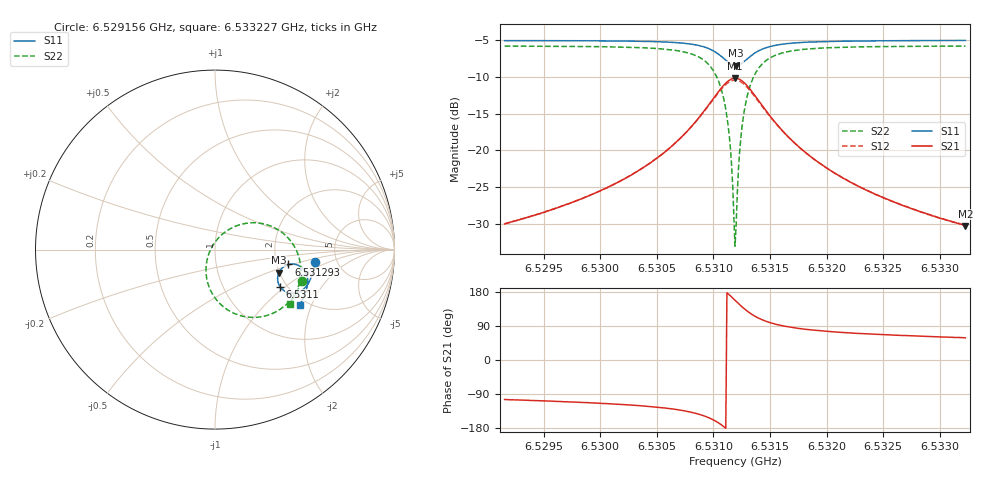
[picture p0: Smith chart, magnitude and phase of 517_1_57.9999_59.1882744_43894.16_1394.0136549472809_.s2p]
#  HZ  S  RI  R  50.00
! Rohde & Schwarz Vector Network Analyzer
! Rohde-Schwarz,ZNB20-2Port,1311601062101988,3.16
! Created: UTC 3/21/2024, 1:13:25 AM
! freq[Hz]  re:S11  im:S11  re:S21  im:S21  re:S12  im:S12  re:S22  im:S22
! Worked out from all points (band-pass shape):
!   401 points, 6.529156 GHz to 6.533227 GHz, reference 50 ohm
!   highest |S21| = -10.15 dB at 6.531191 GHz (marker M1); lowest = -30.3 dB at 6.533227 GHz (marker M2)
!   |S21| within 3 dB of the highest: 6.53099 GHz to 6.531396 GHz (406.7 kHz wide, 0.00623 % of centre)
!   lowest |S11| = -8.4 dB at 6.531202 GHz (marker M3), VSWR 2.22, Z = 99.1 - j29.9 ohm
!   |S11| at or under -10 dB: nowhere
!   |S22| runs from -33.1 to -5.8 dB; largest |S21 - S12| = 0.012
!   S11 on the Smith chart (normalised r, x): 6.529156 GHz: 3.40, -0.70; 6.5311 GHz: 1.84, -0.93; 6.531293 GHz: 2.32, -0.47; 6.533227 GHz: 1.82, -1.64
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6.5291559e9  0.5564 -0.0706  -0.00769 -0.0305  -0.00848 -0.0304  0.4848 -0.1745
6.5298378e9  0.5451 -0.1272  -0.0175 -0.0433  -0.0183 -0.043  0.4534 -0.2379
6.5305197e9  0.5157 -0.195  -0.052 -0.0743  -0.0541 -0.0728  0.3707 -0.3273
6.5307538e9  0.4879 -0.2245  -0.0923 -0.0933  -0.095 -0.0902  0.2892 -0.367
6.5309269e9  0.4436 -0.2429  -0.1613 -0.0991  -0.1635 -0.0926  0.162 -0.3728
6.5310286e9  0.3983 -0.2366  -0.2311 -0.0718  -0.2302 -0.0621  0.0438 -0.316
6.5310999e9  0.3636 -0.2083  -0.2823 -0.0121  -0.2764 -0.00229  -0.0333 -0.2073
6.5311406e9  0.3509 -0.1798  -0.298 0.0415  -0.2889 0.0493  -0.0503 -0.1159
6.5311813e9  0.3504 -0.1459  -0.2928 0.1026  -0.2817 0.107  -0.0318 -0.0164
6.5311915e9  0.3524 -0.1375  -0.2878 0.1176  -0.2764 0.1209  -0.0209 0.00731
6.5312016e9  0.3554 -0.1293  -0.2811 0.132  -0.2699 0.1343  -0.0077 0.0298
6.5312118e9  0.3593 -0.1215  -0.273 0.1455  -0.2621 0.1469  0.00737 0.0508
6.5312322e9  0.3693 -0.1076  -0.2536 0.1699  -0.2433 0.1694  0.0431 0.0875
6.5312424e9  0.3752 -0.1015  -0.2425 0.1803  -0.2327 0.179  0.063 0.1025
6.5312627e9  0.3881 -0.0918  -0.2186 0.197  -0.2098 0.1946  0.1049 0.1264
6.5312932e9  0.409 -0.083  -0.181 0.2124  -0.1742 0.209  0.1695 0.146
6.5313645e9  0.4529 -0.0837  -0.1045 0.2138  -0.1011 0.2105  0.298 0.1357
6.5314663e9  0.4907 -0.1065  -0.0389 0.1817  -0.0374 0.18  0.4048 0.0674
6.5316189e9  0.5121 -0.1433  0.000454 0.1339  0.0014 0.1333  0.4633 -0.029
6.5318734e9  0.5166 -0.187  0.0167 0.0873  0.0178 0.0871  0.478 -0.1275
6.5325553e9  0.4973 -0.2579  0.0184 0.0417  0.0193 0.0416  0.4496 -0.2444
6.533227e9  0.4708 -0.308  0.016 0.026  0.0165 0.026  0.4152 -0.3047
